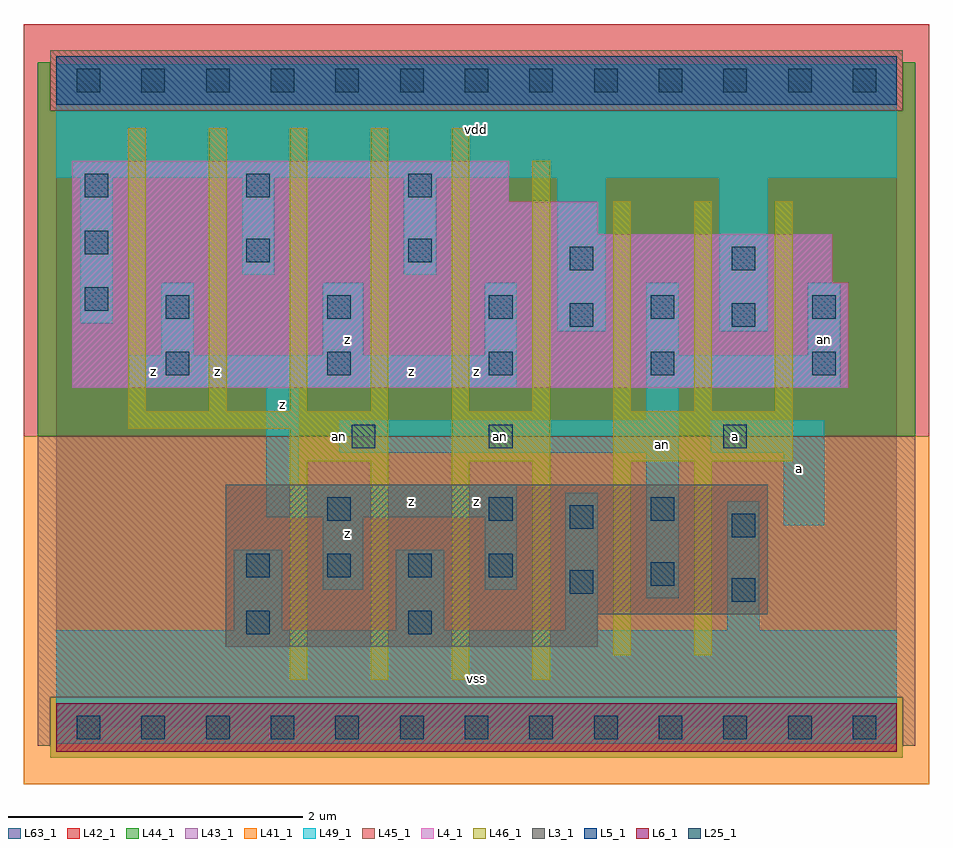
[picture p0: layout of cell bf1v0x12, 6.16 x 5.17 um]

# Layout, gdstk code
import gdstk
lib = gdstk.Library(unit=1e-6, precision=1e-09)
def R(c, l, rs):  # rectangles x0, y0, x1, y1
    for r in rs: c.add(gdstk.rectangle(r[:2], r[2:], *l))
def A(c, l, x, y, w, h, nx, ny, dx, dy):  # array of equal rectangles
    R(c, l, [(x+i*dx, y+j*dy, x+i*dx+w, y+j*dy+h) for i in range(nx) for j in range(ny)])
L3_1 = (3, 1)
L4_1 = (4, 1)
L5_1 = (5, 1)
L6_1 = (6, 1)
L25_1 = (25, 1)
L41_1 = (41, 1)
L42_1 = (42, 1)
L43_1 = (43, 1)
L44_1 = (44, 1)
L45_1 = (45, 1)
L46_1 = (46, 1)
L49_1 = (49, 1)
L63_1 = (63, 1)

bf1v0x12 = lib.new_cell('bf1v0x12')
R(bf1v0x12, L3_1, [(1.155,0.55,3.685,0.77), (1.155,0.77,4.84,1.65)])
R(bf1v0x12, L4_1, [(0.11,2.31,5.39,3.025), (0.11,3.025,5.28,3.355), (0.11,3.355,3.685,3.575), (0.11,3.575,3.08,3.85)])
R(bf1v0x12, L5_1, [(0,4.235,5.72,4.565)])
R(bf1v0x12, L6_1, [(0,-0.165,5.72,0.165)])
A(bf1v0x12, L25_1, 0.14, -0.08, 0.16, 0.16, 13, 2, 0.44, 4.4)
A(bf1v0x12, L25_1, 1.295, 1.02, 0.16, 0.16, 4, 1, 0.55, 0)
A(bf1v0x12, L25_1, 1.845, 1.405, 0.16, 0.16, 3, 1, 1.1, 0)
A(bf1v0x12, L25_1, 0.745, 2.395, 0.16, 0.16, 5, 2, 1.1, 0.385)
A(bf1v0x12, L25_1, 0.195, 3.605, 0.16, 0.16, 3, 1, 1.1, 0)
R(bf1v0x12, L25_1, [(1.295,0.635,1.455,0.795), (2.395,0.635,2.555,0.795), (4.595,0.855,4.755,1.015), (3.495,0.91,3.655,1.07), (4.045,0.965,4.205,1.125), (4.595,1.295,4.755,1.455), (3.495,1.35,3.655,1.51), (2.01,1.9,2.17,2.06), (2.945,1.9,3.105,2.06), (4.54,1.9,4.7,2.06), (3.495,2.725,3.655,2.885), (4.595,2.725,4.755,2.885), (0.195,2.835,0.355,2.995), (3.495,3.11,3.655,3.27), (4.595,3.11,4.755,3.27), (1.295,3.165,1.455,3.325), (2.395,3.165,2.555,3.325), (0.195,3.22,0.355,3.38)])
R(bf1v0x12, L41_1, [(-0.22,-0.385,5.94,1.98)])
R(bf1v0x12, L42_1, [(-0.22,1.98,5.94,4.785)])
R(bf1v0x12, L43_1, [(0,-0.165,5.72,0.165), (1.155,0.55,3.685,0.77), (1.155,0.77,4.84,1.65), (0.11,2.31,5.39,3.025), (0.11,3.025,5.28,3.355), (0.11,3.355,3.685,3.575), (0.11,3.575,3.08,3.85), (0,4.235,5.72,4.565)])
R(bf1v0x12, L44_1, [(-0.04,-0.205,5.76,0.205), (-0.125,1.98,5.845,4.195), (-0.125,4.195,-0.04,4.525), (5.76,4.195,5.845,4.525)])
R(bf1v0x12, L45_1, [(-0.125,-0.125,-0.04,0.205), (5.76,-0.125,5.845,0.205), (-0.125,0.205,5.845,1.98), (-0.04,4.195,5.76,4.605)])
A(bf1v0x12, L46_1, 1.59, 0.325, 0.12, 1.485, 4, 1, 0.55, 0)
A(bf1v0x12, L46_1, 0.49, 2.15, 0.12, 1.925, 5, 1, 0.55, 0)
A(bf1v0x12, L46_1, 3.79, 2.15, 0.12, 1.43, 3, 1, 0.55, 0)
R(bf1v0x12, L46_1, [(3.79,0.49,3.91,1.81), (4.34,0.49,4.46,1.81), (1.59,1.81,2.26,2.03), (2.69,1.81,3.36,2.15), (3.79,1.81,5.01,2.15), (0.49,2.03,2.26,2.15), (3.24,2.15,3.36,3.855)])
A(bf1v0x12, L49_1, 2.915, 2.53, 0.22, 0.495, 3, 1, 1.1, 0)
R(bf1v0x12, L49_1, [(0,-0.11,5.72,0.66), (1.21,0.66,1.54,1.21), (2.31,0.66,2.64,1.21), (3.465,0.66,3.685,1.595), (4.565,0.66,4.785,1.54), (4.015,0.88,4.235,1.87), (1.815,0.935,2.09,1.43), (2.915,0.935,3.135,1.43), (4.95,1.375,5.225,1.87), (1.43,1.43,3.135,1.65), (1.43,1.65,1.65,2.31), (1.925,1.87,4.235,2.09), (4.455,1.87,5.225,2.09), (4.015,2.09,4.235,2.31), (0.495,2.31,3.135,2.53), (4.015,2.31,5.335,2.53), (0.715,2.53,0.935,3.025), (1.815,2.53,2.09,3.025), (3.41,2.695,3.74,3.74), (4.51,2.695,4.84,3.74), (0.165,2.75,0.385,3.74), (1.265,3.08,1.485,3.74), (2.365,3.08,2.585,3.74), (0,3.74,5.72,4.51)])
R(bf1v0x12, L63_1, [(0,0,5.72,4.4)])
bf1v0x12.add(gdstk.Label('an', (1.925,1.98), layer=46, texttype=1))
bf1v0x12.add(gdstk.Label('an', (3.025,1.98), layer=49, texttype=1))
bf1v0x12.add(gdstk.Label('z', (0.66,2.42), layer=49, texttype=1))
bf1v0x12.add(gdstk.Label('z', (1.98,1.32), layer=49, texttype=1))
bf1v0x12.add(gdstk.Label('z', (1.1,2.42), layer=49, texttype=1))
bf1v0x12.add(gdstk.Label('z', (1.54,2.2), layer=49, texttype=1))
bf1v0x12.add(gdstk.Label('z', (1.98,2.64), layer=49, texttype=1))
bf1v0x12.add(gdstk.Label('vss', (2.86,0.33), layer=49, texttype=1))
bf1v0x12.add(gdstk.Label('z', (2.42,1.54), layer=49, texttype=1))
bf1v0x12.add(gdstk.Label('z', (2.86,1.54), layer=49, texttype=1))
bf1v0x12.add(gdstk.Label('z', (2.42,2.42), layer=49, texttype=1))
bf1v0x12.add(gdstk.Label('z', (2.86,2.42), layer=49, texttype=1))
bf1v0x12.add(gdstk.Label('vdd', (2.86,4.07), layer=49, texttype=1))
bf1v0x12.add(gdstk.Label('an', (3.08,1.98), layer=49, texttype=1))
bf1v0x12.add(gdstk.Label('an', (4.125,1.925), layer=49, texttype=1))
bf1v0x12.add(gdstk.Label('a', (5.06,1.76), layer=49, texttype=1))
bf1v0x12.add(gdstk.Label('a', (4.62,1.98), layer=49, texttype=1))
bf1v0x12.add(gdstk.Label('an', (5.225,2.64), layer=49, texttype=1))

lib.write_gds('bf1v0x12.gds')
